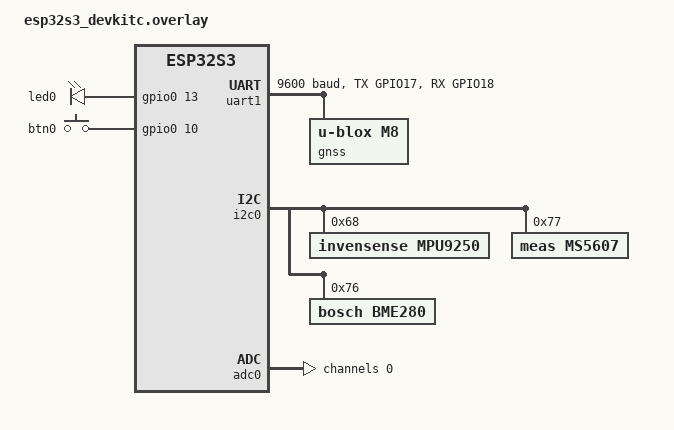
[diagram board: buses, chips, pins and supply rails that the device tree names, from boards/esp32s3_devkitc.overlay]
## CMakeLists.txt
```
cmake_minimum_required(VERSION 3.20.0)

# Generate compile_commands.json by default so editors (clangd, cpptools)
# can pick up the build include paths. Override with -DCMAKE_EXPORT_COMPILE_COMMANDS=OFF if you don't want it.
set(CMAKE_EXPORT_COMPILE_COMMANDS ON CACHE BOOL "Export compile_commands.json for editor tooling")

find_package(Zephyr REQUIRED HINTS $ENV{ZEPHYR_BASE})
project(esp32_basic)


# Include the library (via directory)
add_subdirectory(lib/simple_maths)
add_subdirectory(lib/bme280)

FILE(GLOB app_sources src/*.c)
FILE(GLOB app_headers include/*.h)
target_sources(app PRIVATE ${app_sources} ${app_headers})
# Link the simple_maths library to the application
zephyr_include_directories(config ${CMAKE_CURRENT_SOURCE_DIR}/config)

target_link_libraries(app PRIVATE maths_lib)
# target_link_libraries(app PRIVATE bme280_lib)
```

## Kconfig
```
# Include Zephyr top-level Kconfig so standard symbols are available
source "$srctree/Kconfig"

# Kconfig for simple_maths library (defined here so prj.conf can set it)
config MATHS_LIB
	bool "Enable simple maths library"
	default n
	help
	  Enable the simple_maths library and its API (add, subtract, multiply, divide).
```

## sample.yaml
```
sample:
  name: First Zephyr 
```

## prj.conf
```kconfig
CONFIG_MATHS_LIB=n


# CONFIG_FPU=y # enable FPU support using hardware
```

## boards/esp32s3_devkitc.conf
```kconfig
CONFIG_GPIO=y
CONFIG_ADC=y
CONFIG_LOG=y
# CONFIG_MATHS_LIB=y
# CONFIG_I2C=y
# CONFIG_I2C_TARGET=y

# GNSS
# CONFIG_GNSS=y
# CONFIG_GNSS_SATELLITES=y
# CONFIG_LOG_BUFFER_SIZE=8192
# CONFIG_GNSS_DUMP_TO_LOG=n
# CONFIG_GNSS_LOG_LEVEL_DBG=y

# Pressure 
CONFIG_I2C=y
CONFIG_SENSOR=y
CONFIG_MS5607=y
CONFIG_BME280=y
CONFIG_MPU9250=y
# CONFIG_BME280_STANDBY_05MS=y
# CONFIG_BME280_TEMP_OVER_8X=y

# CONFIG_SENSOR=y
# CONFIG_BME280_MODE_FORCED=y
# CONFIG_BME280_PRESS_OVER_2X=y
# CONFIG_BME280_HUMIDITY_OVER_2X=y


CONFIG_STDOUT_CONSOLE=y
CONFIG_PRINTK=y
CONFIG_LOG_PRINTK=y
CONFIG_CONSOLE=y
CONFIG_SERIAL=y
CONFIG_UART_CONSOLE=y
CONFIG_UART_1_ASYNC=y             # if using USART1

CONFIG_TEST_RANDOM_GENERATOR=y
CONFIG_TEST_CSPRNG_GENERATOR=y

CONFIG_PICOLIBC_IO_FLOAT=y # enable FPU support using software
CONFIG_ENTROPY_DEVICE_RANDOM_GENERATOR=y
CONFIG_UART_INTERRUPT_DRIVEN=y
```

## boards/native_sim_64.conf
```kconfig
# Core
# CONFIG_NATIVE_SIM=y
CONFIG_SENSOR=y
CONFIG_LOG=y
CONFIG_LOG_MODE_DEFERRED=y
CONFIG_PRINTK=y
CONFIG_LOG_BUFFER_SIZE=8192

# Disable hardware specific
CONFIG_EMUL=y
CONFIG_I2C=y
CONFIG_I2C_EMUL=y

# GPIO Simulation
CONFIG_GPIO=y
CONFIG_GPIO_EMUL=y

# ADC Simulation
CONFIG_ADC=y
CONFIG_ADC_EMUL=y

# Simulated sensors
CONFIG_SENSOR=y
CONFIG_MS5607=y
CONFIG_BME280=y
# CONFIG_MS5607_EMUL=y
# CONFIG_BME280_EMUL=y

# GNSS (sim-fed)
CONFIG_GNSS=y
CONFIG_GNSS_SATELLITES=y
```

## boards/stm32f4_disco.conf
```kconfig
CONFIG_MATHS_LIB=y

CONFIG_GPIO=y
CONFIG_ADC=y
CONFIG_LOG=y


CONFIG_STDOUT_CONSOLE=y
CONFIG_PRINTK=y
CONFIG_LOG_PRINTK=y
CONFIG_CONSOLE=y
CONFIG_SERIAL=y
CONFIG_UART_CONSOLE=y
CONFIG_UART_1_ASYNC=y             # if using USART1

CONFIG_TEST_RANDOM_GENERATOR=y
CONFIG_TEST_CSPRNG_GENERATOR=y

CONFIG_PICOLIBC_IO_FLOAT=y # enable FPU support using software
CONFIG_ENTROPY_DEVICE_RANDOM_GENERATOR=y
CONFIG_UART_INTERRUPT_DRIVEN=y
```

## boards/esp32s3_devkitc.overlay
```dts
/* esp32-basic devicetree overlay
 * Demonstrates how to enable and alias GPIO, ADC and PWM devices.
 * Adjust pin numbers to match your board variant.
 */

//#include <zephyr/dt-bindings/pwm/pwm.h>

/ {
    aliases {
        /* led0 should alias the LED node label, not the gpio controller */
        userled = &led0;
				userswitch = &btn0;
        useradc = &adc0;
        useradcch = &adc0_ch1;

				gnss = &gnss;
				mpu9250 = &mpu9250;
				bme280 = &bme280;
				ms5607 = &ms5607;
    };

    leds {
        compatible = "gpio-leds";
        led0: d13 {
            gpios = <&gpio0 13 GPIO_ACTIVE_HIGH>;
        };
    };

		buttons {
        compatible = "gpio-keys";
        debounce-interval-ms = <50>;
        polling-mode;

        btn0: d10 {
            gpios = <&gpio0 10 GPIO_ACTIVE_HIGH>;
        };
    };
};

&gpio0 {
    status = "okay";
};


&uart1 {
		status = "okay";
		current-speed = <9600>;
    pinctrl-0 = <&uart1_pins>;
    pinctrl-names = "default";

		gnss: u_blox_m8 {
			status = "okay";
			compatible = "u-blox,m8";
			initial-baudrate = <9600>;
		};
};


&i2c0 {
		status = "okay"; // DEFAULT: pin 8 (SDA), pin 9 (SCL) 
		pinctrl-0 = <&i2c0_pins>;
		pinctrl-names = "default";

		mpu9250: mpu9250@68 {
				compatible = "invensense,mpu9250";
				gyro-sr-div = <5>; // rate = sample_rate / (1 + gyro-sr-div)
				gyro-dlpf = <250>;
				gyro-fs = <500>;
				accel-fs = <2>;
				accel-dlpf = "218.1";
				reg = <0x68>;
		};

    ms5607: ms5607@77 {
        compatible = "meas,ms5607";
        reg = <0x77>;
    };

		bme280: bme280@76 {
				compatible = "bosch,bme280";
				reg = <0x76>;
		};
};

&adc0 {
    status = "okay";
    #address-cells = <1>;
    #size-cells = <0>;

    adc0_ch1: channel@1 {
        reg = <0>;
        zephyr,gain = "ADC_GAIN_1_4";
        zephyr,reference = "ADC_REF_INTERNAL";
        zephyr,vref-mv = <3894>;
        zephyr,acquisition-time = <ADC_ACQ_TIME_DEFAULT>;
        zephyr,resolution = <12>;
    };
};

&pinctrl {
	uart1_pins: uart1_pins {
		group1 {
			pinmux = <UART1_TX_GPIO17>;
			output-high;
		};
		group2 {
			pinmux = <UART1_RX_GPIO18>;
			bias-pull-up;
		};
	};

  i2c0_pins: i2c0_pins {
      group1 {
          pinmux = <
              I2C0_SDA_GPIO35
              I2C0_SCL_GPIO36
          >;
      };
  };
};
```

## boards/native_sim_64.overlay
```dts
/ {
    aliases {
        userled    = &led0;
        userswitch = &btn0;
        adc        = &adc_sim;
        bme280     = &bme280;
        ms5607     = &ms5607;
    };

    /* GPIO Simulator Controller */
    gpio_sim: gpio_sim {
        compatible = "zephyr,gpio-emul";
        status = "okay";
        gpio-controller;
        #gpio-cells = <2>;
        ngpios = <2>;
    };

    leds {
        compatible = "gpio-leds";
        led0: led_0 {
            gpios = <&gpio_sim 0 0>;
            label = "User LED";
        };
    };

    buttons {
        compatible = "gpio-keys";
        btn0: btn_0 {
            gpios = <&gpio_sim 1 0>;
            label = "User Button";
        };
    };

    adc_sim: adc {
        compatible = "zephyr,adc-emul";
        status = "okay";
        #address-cells = <1>;
        #size-cells = <0>;
        nchannels = <2>;
        #io-channel-cells = <1>;
        ref-internal-mv = <3894>;

        adc0_ch1: channel@1 {
            reg = <1>;
            zephyr,gain = "ADC_GAIN_1_4";
            zephyr,reference = "ADC_REF_INTERNAL";
            zephyr,acquisition-time = <0>;
            zephyr,resolution = <12>;
        };
    };

    sensors {
    };
};

&i2c0 {
	status = "okay";

	bme280: bme280@76 {
		compatible = "bosch,bme280";
		reg = <0x76>;
	};

	ms5607: ms5607@77 {
		compatible = "meas,ms5607";
		reg = <0x77>;
	};
};
```

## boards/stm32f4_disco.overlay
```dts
/* STM32F4-Discovery devicetree overlay
 * Adjust pin numbers if your board variant differs.
 */

/* esp32-basic devicetree overlay
 * Demonstrates how to enable and alias GPIO, ADC and PWM devices.
 * Adjust pin numbers to match your board variant.
 */

#include <zephyr/dt-bindings/pwm/pwm.h>
#include <zephyr/dt-bindings/i2c/i2c.h>

&gpiob {
    status = "okay";
};

&gpioc {
    status = "okay";
};

/* Enable SPI2 for the ST7789 display */
&spi2 {
    status = "okay";
    pinctrl-0 = <&spi2_sck_pb13 &spi2_mosi_pb15>;
    pinctrl-names = "default";
    cs-gpios = <&gpiob 12 GPIO_ACTIVE_LOW>;  /* PB12 for chip select */
};

/ {
    aliases {
        /* led0 should alias the LED node label, not the gpio controller */
        userled = &led0;
				userswitch = &user_button;
        useradc = &ads1115;
        useradcch = &adc1_ch0;
    };

	chosen {
		/* make the ST7789v the default display for Zephyr */
		zephyr,display = &st7789v_my240;
	};

  leds {
    compatible = "gpio-leds";
    led0: d13 {
        gpios = <&gpiod 13 GPIO_ACTIVE_HIGH>; /* PC13 is user LED on many STM32F4 variants */
    };
  };

  /* ST7789 240x240 display connected via SPI2 */
  mipi_dbi {
    compatible = "zephyr,mipi-dbi-spi";
    spi-dev = <&spi2>;
    dc-gpios = <&gpiob 0 GPIO_ACTIVE_HIGH>;     /* PB0 for DC (data/command) */
    reset-gpios = <&gpiob 1 GPIO_ACTIVE_LOW>;   /* PB1 for RESET (active low) */
    #address-cells = <1>;
    #size-cells = <0>;

    st7789v_my240: st7789v@0 {
      compatible = "sitronix,st7789v";
      status = "okay";
      reg = <0>;
      mipi-max-frequency = <20000000>;
      width = <240>;
      height = <240>;
      x-offset = <0>;
      y-offset = <0>;
      vcom = <0x19>;
      gctrl = <0x35>;
      mdac = <0x00>;
      lcm = <0x2c>;
      colmod = <0x05>;
      gamma = <0x01>;
      porch-param = [0c 0c 00 33 33];
      cmd2en-param = [5a 69 02 01];
      pwctrl1-param = [a4 a1];
      pvgam-param = [d0 04 0d 11 13 2b 3f 54 4c 18 0d 0b 1f 23];
      nvgam-param = [d0 04 0c 11 13 2c 3f 44 51 2f 1f 1f 20 23];
      ram-param = [00 f0];
      rgb-param = [40 02 14];
      mipi-mode = "MIPI_DBI_MODE_SPI_4WIRE";
    };
  };

};

		&i2c1 {
			status = "okay";
			pinctrl-0 = <&i2c1_scl_pb8 &i2c1_sda_pb9>;
			pinctrl-names = "default";
			clock-frequency = <I2C_BITRATE_FAST>;

			ads1115: ads1115@48 {
				compatible = "ti,ads1115";
				reg = <0x48>;
				#io-channel-cells = <1>;
				status = "okay";

				channel@0 {
					reg = <0>;
					zephyr,gain = "ADC_GAIN_1";
					zephyr,reference = "ADC_REF_INTERNAL";
					zephyr,acquisition-time = <ADC_ACQ_TIME_DEFAULT>;
					zephyr,resolution = <15>;
				};

				channel@1 {
					reg = <1>;
					zephyr,gain = "ADC_GAIN_1";
					zephyr,reference = "ADC_REF_INTERNAL";
					zephyr,acquisition-time = <ADC_ACQ_TIME_DEFAULT>;
					zephyr,resolution = <15>;
				};

				channel@2 {
					reg = <2>;
					zephyr,gain = "ADC_GAIN_1";
					zephyr,reference = "ADC_REF_INTERNAL";
					zephyr,acquisition-time = <ADC_ACQ_TIME_DEFAULT>;
					zephyr,resolution = <15>;
				};

				channel@3 {
					reg = <3>;
					zephyr,gain = "ADC_GAIN_1";
					zephyr,reference = "ADC_REF_INTERNAL";
					zephyr,acquisition-time = <ADC_ACQ_TIME_DEFAULT>;
					zephyr,resolution = <15>;
				};
			};
		}

&adc1 {
    status = "okay";
    #address-cells = <1>;
    #size-cells = <0>;

    adc1_ch0: channel@0 {
        reg = <0>;
        zephyr,gain = "ADC_GAIN_1_4";
        zephyr,reference = "ADC_REF_INTERNAL";
        zephyr,vref-mv = <3894>;
        zephyr,acquisition-time = <ADC_ACQ_TIME_DEFAULT>;
        zephyr,resolution = <12>;
    };
};
```

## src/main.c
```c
#include <zephyr/device.h>
#include <zephyr/drivers/sensor.h>
#include <zephyr/kernel.h>
#include <zephyr/logging/log.h>

#include "../include/main.h"

LOG_MODULE_REGISTER(esp32, LOG_LEVEL_INF);

// const struct device *bme280_dev = DEVICE_DT_GET(DT_ALIAS(bme280));
// const struct device *ms5607_dev = DEVICE_DT_GET(DT_ALIAS(ms5607));

int main(void) {
  // int rc;

	struct device *mpu9250_dev = DEVICE_DT_GET(DT_ALIAS(mpu9250));
	if (!device_is_ready(mpu9250_dev)) {
		LOG_ERR("MPU9250 Device not ready");
		return 0;
	}
  // if (!device_is_ready(bme280_dev)) {
  // 	LOG_ERR("Device %s is not ready\n", bme280_dev->name);
  // 	return 0;
  // }
  // if (!device_is_ready(ms5607_dev)) {
  // 	LOG_ERR("Device %s is not ready\n", ms5607_dev->name);
  // 	return 0;
  // }

  while (1) {
    // printk("Hello World from Zephyr!\n");
    // LOG_INF("Hello World from Zephyr!");
		// LOG_INF("Device (Ox75): %x", WHO_AM_I(0x75));
		// LOG_INF("Device (Ox68): %x", WHO_AM_I(0x68));
		// LOG_INF("Device (Ox69): %x", WHO_AM_I(0x69));

    /*
    EXAMPLES
    - blink();
    - button_click();
    - blink_n_click();
    - adc_read_val();
    - random_print();
    - get_gps_info();
    - read_bme280();
    - read_ms5611();
    */

		int rc = 0;
		struct sensor_value accel[3], gyro[3], mag[3];
		rc = sensor_sample_fetch(mpu9250_dev);
		if (rc < 0) {
			LOG_ERR("MPU9250 sample fetch failed: %d", rc);
		} else {
			sensor_channel_get(mpu9250_dev, SENSOR_CHAN_ACCEL_XYZ, accel);
			sensor_channel_get(mpu9250_dev, SENSOR_CHAN_GYRO_XYZ, gyro);
			sensor_channel_get(mpu9250_dev, SENSOR_CHAN_MAGN_XYZ, mag);
			LOG_INF("MPU9250 Accel: X=%d.%06d, Y=%d.%06d, Z=%d.%06d",
					accel[0].val1, accel[0].val2,
					accel[1].val1, accel[1].val2,
					accel[2].val1, accel[2].val2);
			LOG_INF("MPU9250 Gyro: X=%d.%06d, Y=%d.%06d, Z=%d.%06d",
					gyro[0].val1, gyro[0].val2,
					gyro[1].val1, gyro[1].val2,
					gyro[2].val1, gyro[2].val2);
			LOG_INF("MPU9250 Mag: X=%d.%06d, Y=%d.%06d, Z=%d.%06d",
					mag[0].val1, mag[0].val2,
					mag[1].val1, mag[1].val2,
					mag[2].val1, mag[2].val2);
		}
    k_sleep(K_MSEC(500));
  }

  return 0;
}
```

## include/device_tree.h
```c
#ifndef DEVICE_TREE_H
#define DEVICE_TREE_H
#include <zephyr/drivers/gpio.h>

/* 1000 msec = 1 sec */
#define SLEEP_TIME_MS 1000

/* The devicetree node identifier for the "led0" alias. */
#define LED0_NODE DT_ALIAS(led0)
#define LED1_NODE DT_ALIAS(led1)
#define LED2_NODE DT_ALIAS(led2)
#define LED3_NODE DT_ALIAS(led3)

/*
	* The devicetree node identifier for the "led1" alias.
	* Change "led1" to "led2", "led3", etc to get access
*/
#define LED0 GPIO_DT_SPEC_GET(LED0_NODE, gpios)
#define LED1 GPIO_DT_SPEC_GET(LED1_NODE, gpios)
#define LED2 GPIO_DT_SPEC_GET(LED2_NODE, gpios)
#define LED3 GPIO_DT_SPEC_GET(LED3_NODE, gpios)

// #define PWM_LED0 PWM_DT_SPEC_GET(LED0_NODE)
#define SW0_NODE	DT_ALIAS(sw0)
#if !DT_NODE_HAS_STATUS_OKAY(SW0_NODE)
#error "Unsupported board: sw0 devicetree alias is not defined"
#endif // SW0_NODE

#endif // DEVICE_TREE_H
```

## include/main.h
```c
#ifndef MAIN_H
#define MAIN_H
#include <zephyr/drivers/gpio.h>
#include <zephyr/logging/log.h>
#include <zephyr/drivers/gnss.h>

int random_print(void);
int blink();
int button_click(void);
int blink_n_click(void);
int adc_read_val(void);
int get_gps_info(void);

#endif // MAIN_H
```

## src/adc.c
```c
// #include <stdio.h>
// #include <zephyr/kernel.h>
// #include <zephyr/drivers/adc.h>


// #define ADC_CHANNEL DT_ALIAS(useradcch)
// #define ADC_DEVICE DT_ALIAS(useradc)




// // Get Devicetree configurations
// #if !DT_NODE_HAS_STATUS(ADC_CHANNEL, okay)
//   #error "Unsupported board: adc channel devicetree alias is not defined"
// #endif

// #if !DT_NODE_HAS_STATUS(ADC_DEVICE, okay)
// 	#error "Unsupported board: adc device devicetree alias is not defined"
// #endif

// static const struct device *adc_dev = DEVICE_DT_GET(ADC_DEVICE);
// static const struct adc_channel_cfg adc_channel = ADC_CHANNEL_CFG_DT(ADC_CHANNEL);



// int adc_read_val(void)
// {

// 		uint16_t adc_sample;
//     // Get Vref (mV) from Devicetree property
//     int32_t vref_mv = DT_PROP(ADC_CHANNEL, zephyr_vref_mv);
//     uint16_t mv = 0;


//     // Make sure that the ADC was initialized
//     if (!device_is_ready(adc_dev)) {
//         printk("ADC peripheral is not ready\r\n");
//         return 0;
//     }

//     // Configure ADC channel
//     int ret = adc_channel_setup(adc_dev, &adc_channel);
//     if (ret < 0) {
//         printk("Could not set up ADC\r\n");
//         return 0;
//     }

// 		const struct adc_sequence sequence = {
// 			.channels = BIT(adc_channel.channel_id),
// 			.buffer = &adc_sample,
// 			.buffer_size = sizeof(adc_sample),
// 			.resolution = DT_PROP(ADC_CHANNEL, zephyr_resolution),
// 		};

// 		// Do forever
// 		while (1) {
// 			// Read ADC value
// 			ret = adc_read(adc_dev, &sequence);
// 	    if (ret < 0) {
//           printk("Could not read ADC: %d\r\n", ret);
//           continue;
//       }

// 			// Print the raw ADC value and the voltage in mV
// 			mv = adc_sample * vref_mv / (1 << sequence.resolution);

// 			printk("ADC raw: %d, voltage: %d mV\r\n", adc_sample, mv);
// 			k_sleep(K_MSEC(1000));
// 		}
// 		return 0;
// }
```

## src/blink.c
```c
#include <zephyr/drivers/gpio.h>

#include <zephyr/logging/log.h>
#include "../include/main.h"


#ifdef CONFIG_MATHS_LIB
#include "maths.h"
// #else
// #warning "No maths library selected"
#endif


LOG_MODULE_REGISTER(esp32_basic, LOG_LEVEL_INF);

/* Use the standard alias 'userled' (defined in the board overlay). */
#define LED_NODE DT_ALIAS(userled)
#if DT_NODE_HAS_STATUS(LED_NODE, okay)
static const struct gpio_dt_spec led = GPIO_DT_SPEC_GET(LED_NODE, gpios);
#else
#warning "LED PIN alias not defined in devicetree"
static const struct gpio_dt_spec led = {
	.port=0,
	.pin=13,
	.dt_flags=GPIO_ACTIVE_HIGH
};
#endif

int blink()
{

  LOG_INF("esp32-basic starting");

	int ret;
	int state = 0;

	#ifdef CONFIG_MATHS_LIB
	int sum;
	add(5, 3, &sum);
	LOG_INF("5 + 3 = %d", sum);
	#endif

	// Make sure that the GPIO was initialized
	if (!gpio_is_ready_dt(&led)) {
		return 0;
	}

	// Set the GPIO as output
	ret = gpio_pin_configure_dt(&led, GPIO_OUTPUT);
	if (ret < 0) {
		return 0;
	}

	// Do forever
	while (1) {
		state = !state;

		// Change the state of the pin and print
		LOG_INF("LED state: %d\r\n", state);
		#ifdef CONFIG_MATHS_LIB
		int sum;
		add(5, 3, &sum);
		LOG_INF("5 + 3 = %d", sum);
		#endif
		
		// Set pin state
		ret = gpio_pin_set_dt(&led, state);
		if (ret < 0) {
			return 0;
		}

		// Sleep
		k_sleep(K_MSEC(1000));
	}

	return 0;
}
```

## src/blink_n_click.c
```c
#include <stdio.h>
#include <zephyr/kernel.h>
#include <zephyr/drivers/gpio.h>

// Settings
static const struct gpio_dt_spec btn = GPIO_DT_SPEC_GET(DT_ALIAS(userswitch), gpios);
static const struct gpio_dt_spec led = GPIO_DT_SPEC_GET(DT_ALIAS(userled), gpios);

int blink_n_click(void)
{
	// Make sure that the button was initialized
	if (!gpio_is_ready_dt(&btn)) {
		printk("ERROR: button not ready\r\n");
	}
	if (!gpio_is_ready_dt(&led)) {
		printk("ERROR: LED not ready\r\n");
	}
	// Set the button as input (apply extra flags if needed)
	int ret = gpio_pin_configure_dt(&btn, GPIO_INPUT);
	if (ret < 0) {
		printk("ERROR: failed to configure button pin\r\n");
	}
	// Set the GPIO as output
	ret = gpio_pin_configure_dt(&led, GPIO_OUTPUT);
	if (ret < 0) {
		printk("ERROR: failed to configure LED pin\r\n");
	}

	int state = 0;
	// Do forever
	while (1) {
		// Poll button state
		state = gpio_pin_get_dt(&btn);
		printk("Button state: %d\r\n", state);
		// Change the state of the pin and print
		if (state == 0) { // Assuming active low button
			printk("LED OFF\r\n");
			gpio_pin_set_dt(&led, 0);
		} else {
			printk("LED ON\r\n");
			gpio_pin_set_dt(&led, 1);
		}
		// Sleep
		k_sleep(K_MSEC(100));
	}

		return 0;
}
```

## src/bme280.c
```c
#ifdef BME280
#include <zephyr/drivers/sensor.h>

double intial_pressure = 0;
double initial_altitude = 0;

double altitude_m(double pressure_pa)
{
    return 44330.0 * (1.0 - pow(pressure_pa / 101325, 0.1903));
}

void read_bme280(struct bme280_dev *bme280_dev){
		int rc;
		struct sensor_value temp2 , pres;
		// Sleep for 500 milliseconds
		// k_sleep(K_MSEC(500));

		rc = sensor_sample_fetch(bme280_dev);
		if (rc == 0) {
			rc = sensor_channel_get(bme280_dev, SENSOR_CHAN_AMBIENT_TEMP, &temp2);
			if (rc == 0) {
				LOG_INF("BME280 Temperature: %d.%06d C", temp2.val1, temp2.val2);
			} else {
				LOG_ERR("Could not get BME280 temperature: %d", rc);
			}
		} else {
			LOG_ERR("BME280 Sensor sample fetch failed: %d", rc);
		}


		double current_pressure;
		double current_altitude;
		if (rc == 0) {
			rc = sensor_channel_get(bme280_dev, SENSOR_CHAN_PRESS, &pres);
			if (rc == 0) {
				if (*initial_pressure == 0) {
					*initial_pressure = pres.val1 + pres.val2 / 1000000.0;
					*initial_altitude = altitude_m(*initial_pressure * 1000); // convert kPa to Pa
					LOG_INF("Initial Pressure Reading Set: %.6f kPa", *initial_pressure);
				} else {
					current_pressure = pres.val1 + pres.val2 / 1000000.0;
					current_altitude = altitude_m(current_pressure * 1000); // convert kPa to Pa
					LOG_INF("Pressure Change: %.6f kPa", (*initial_pressure - current_pressure) * 1000 );
					LOG_INF("Altitude Change: %.6f meters", current_altitude - *initial_altitude);
					
					LOG_INF("BME280 Elevation: %.2f meters", current_altitude);
					LOG_INF("BME280 Pressure: %.6f kPa", current_pressure);
					LOG_INF("---------------------------------");
				}
			} else {
				LOG_ERR("Could not get BME280 pressure: %d", rc);
			}
		} else {
			LOG_ERR("BME280 Sensor sample fetch failed: %d", rc);
		}
	}
#endif // BME280
```

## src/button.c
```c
#include "../include/device_tree.h"
#include <zephyr/kernel.h>
#include <zephyr/sys/printk.h>
#include <zephyr/device.h>
#include <zephyr/drivers/pwm.h>

static const struct gpio_dt_spec button = GPIO_DT_SPEC_GET_OR(SW0_NODE, gpios,
							      {0});
static struct gpio_callback button_cb_data;
static struct gpio_dt_spec led_list[] = {LED0, LED1, LED2, LED3};

void button_pressed(const struct device *dev, struct gpio_callback *cb,
		    uint32_t pins)
{
	printk("Button pressed at %" PRIu32 "\n", k_cycle_get_32());
}

int button_init(void)
{
	int ret;

	if (!device_is_ready(button.port)) {
		printk("Error: button device %s is not ready\n",
		       button.port->name);
		return -1;
	}

		ret = gpio_pin_configure_dt(&button, GPIO_INPUT);
		if (ret != 0) {
			printk("Error %d: failed to configure %s pin %d\n",
			       ret, button.port->name, button.pin);
			return 0;
		}

		ret = gpio_pin_interrupt_configure_dt(&button,
						      GPIO_INT_EDGE_TO_ACTIVE);
		if (ret != 0) {
			printk("Error %d: failed to configure interrupt on %s pin %d\n",
				ret, button.port->name, button.pin);
			return 0;
		}

	gpio_init_callback(&button_cb_data, button_pressed, BIT(button.pin));
	gpio_add_callback(button.port, &button_cb_data);
	printk("Set up button at %s pin %d\n", button.port->name, button.pin);
	for (int i = 0; i < ARRAY_SIZE(led_list); i++) {
		struct gpio_dt_spec *led = &led_list[i];
		if (led->port && !gpio_is_ready_dt(led)) {
			printk("Error %d: LED device %s is not ready; ignoring it\n",
			       ret, led->port->name);
			led->port = NULL;
		}

		if (led->port) {
			ret = gpio_pin_configure_dt(led, GPIO_OUTPUT);
			if (ret != 0) {
				printk("Error %d: failed to configure LED device %s pin %d\n",
				       ret, led->port->name, led->pin);
				led->port = NULL;
			} else {
				printk("Set up LED at %s pin %d\n", led->port->name, led->pin);
			}
		}
	}
	for (int i = 0; i < ARRAY_SIZE(led_list); i++) {
		const struct gpio_dt_spec *led = &led_list[i];
		if (!led->port) {
			return -1;
		}
	}
	return 0;
}

int simple_button_toggle(void)
{
	int current_led = 0;
	int ret = button_init();
	if (ret < 0) {
		return 0;
	}

	while (1) {
	 int val = gpio_pin_get_dt(&button);
	 k_msleep(200);
	 if (val > 0) {
	   gpio_pin_toggle_dt(&led_list[current_led]);
	   current_led = (current_led + 1) % ARRAY_SIZE(led_list);
	 }
	}
	return 0;
}
```

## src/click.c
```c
#include <stdio.h>
#include <zephyr/kernel.h>
#include <zephyr/drivers/gpio.h>

// Settings
static const struct gpio_dt_spec btn = GPIO_DT_SPEC_GET(DT_ALIAS(userswitch), gpios);

int button_click(void)
{
    int ret;
    int state;

    // Make sure that the button was initialized
    if (!gpio_is_ready_dt(&btn)) {
        printk("ERROR: button not ready\r\n");
        return 0;
    }

    // Set the button as input (apply extra flags if needed)
    ret = gpio_pin_configure_dt(&btn, GPIO_INPUT);
    if (ret < 0) {
        return 0;
    }

    // Print out the flags
    printk("Button spec flags: 0x%x\r\n", btn.dt_flags);

    // Do forever
    while (1) {
        
        // Poll button state
        state = gpio_pin_get_dt(&btn);
        printk("Button state: %d\r\n", state);

        // Sleep
        k_sleep(K_MSEC(100));
    }

    return 0;
}
```

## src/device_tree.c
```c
#include <zephyr/drivers/gpio.h>

/* 1000 msec = 1 sec */
#define SLEEP_TIME_MS 1000

/* The devicetree node identifier for the "led0" alias. */
#define LED0_NODE DT_ALIAS(led0)
#define LED1_NODE DT_ALIAS(led1)
#define LED2_NODE DT_ALIAS(led2)
#define LED3_NODE DT_ALIAS(led3)

/*
	* The devicetree node identifier for the "led1" alias.
	* Change "led1" to "led2", "led3", etc to get access
*/
#define LED0 GPIO_DT_SPEC_GET(LED0_NODE, gpios)
#define LED1 GPIO_DT_SPEC_GET(LED1_NODE, gpios)
#define LED2 GPIO_DT_SPEC_GET(LED2_NODE, gpios)
#define LED3 GPIO_DT_SPEC_GET(LED3_NODE, gpios)

// #define PWM_LED0 PWM_DT_SPEC_GET(LED0_NODE)
#define SW0_NODE	DT_ALIAS(sw0)
#if !DT_NODE_HAS_STATUS_OKAY(SW0_NODE)
#error "Unsupported board: sw0 devicetree alias is not defined"
#endif
```

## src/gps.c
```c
#ifdef CONFIG_GNSS
#include <zephyr/drivers/gnss.h>
#include <zephyr/logging/log.h>
#include <zephyr/kernel.h>
#include "../include/main.h"
LOG_MODULE_REGISTER(gps, LOG_LEVEL_INF);

#define GNSS_MODEM DEVICE_DT_GET(DT_ALIAS(gnss))

int get_gps_info(void) {
	gnss_systems_t supported, enabled;
	uint32_t fix_interval;
	int rc;

	if (!device_is_ready(GNSS_MODEM)) {
	LOG_ERR("GNSS device not ready");
	return -ENODEV;
	}

	rc = gnss_get_fix_rate(GNSS_MODEM, &fix_interval);
	if (rc < 0) {
	LOG_ERR("Failed to query fix rate (%d)", rc);
	return rc;
	}

	rc = gnss_get_supported_systems(GNSS_MODEM, &supported);
	if (rc < 0) {
	LOG_ERR("failed to query supported systems (%d)", rc);
	return rc;
	}

	rc = gnss_get_enabled_systems(GNSS_MODEM, &enabled);
	if (rc < 0) {
	LOG_ERR("failed to query enabled systems (%d)", rc);
	return rc;
}

	LOG_INF("- GNSS Fix rate: %d ms", fix_interval);
	LOG_INF("- GNSS Supported systems: %s%s%s%s%s%s%s%s\r\n", 
		supported & GNSS_SYSTEM_GPS ? "GPS " : "",
		supported & GNSS_SYSTEM_GLONASS ? "GLONASS " : "",
		supported & GNSS_SYSTEM_GALILEO ? "GALILEO " : "",
		supported & GNSS_SYSTEM_BEIDOU ? "BEIDOU " : "",
		supported & GNSS_SYSTEM_QZSS ? "QZSS " : "",
		supported & GNSS_SYSTEM_IRNSS ? "IRNS " : "",
		supported & GNSS_SYSTEM_SBAS ? "SBAS " : "",
		supported & GNSS_SYSTEM_IMES ? "IMES " : ""
	);
	LOG_INF("- GNSS Enabled systems: %s%s%s%s%s%s%s%s\n", 
		enabled & GNSS_SYSTEM_GPS ? "GPS " : "",
		enabled & GNSS_SYSTEM_GLONASS ? "GLONASS " : "",
		enabled & GNSS_SYSTEM_GALILEO ? "GALILEO " : "",
		enabled & GNSS_SYSTEM_BEIDOU ? "BEIDOU " : "",
		enabled & GNSS_SYSTEM_QZSS ? "QZSS " : "",
		enabled & GNSS_SYSTEM_IRNSS ? "IRNS " : "",
		enabled & GNSS_SYSTEM_SBAS ? "SBAS " : "",
		enabled & GNSS_SYSTEM_IMES ? "IMES " : ""
	);
return 0;
}


static void gnss_data_cb(const struct device *dev, const struct gnss_data *data)
{
	uint64_t timepulse_ns;
	k_ticks_t timepulse;

	if (data->info.fix_status != GNSS_FIX_STATUS_NO_FIX) {
	if (gnss_get_latest_timepulse(dev, &timepulse) == 0) {
	timepulse_ns = k_ticks_to_ns_near64(timepulse);
	LOG_INF("Got a fix (type: %d) @ %lld ns", data->info.fix_status,
	       timepulse_ns);
	} else {
	LOG_INF("Got a fix (type: %d)", data->info.fix_status);
	}

	LOG_INF("date: %02d:%02d:%02d:%03d %02d-%02d-%04d",
	data->utc.hour, data->utc.minute, data->utc.millisecond/1000, data->utc.millisecond%1000,
	data->utc.month_day, data->utc.month, data->utc.century_year + 2000);

	LOG_INF("%s location (%lld, %lld) with %d tracked satellites",
	dev->name, (long long)data->nav_data.latitude, (long long)data->nav_data.longitude, data->info.satellites_cnt);
	} else {
	LOG_INF("No fix (Satellites: %u) Qual:%d Status:%d HDOP:%d Sep:%d",
	data->info.satellites_cnt, data->info.fix_quality, data->info.fix_status,
	data->info.hdop, data->info.geoid_separation);
	}
}

GNSS_DATA_CALLBACK_DEFINE(GNSS_MODEM, gnss_data_cb);
#endif // CONFIG_GNSS
```

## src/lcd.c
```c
/*
 * Copyright (c) 2018 Jan Van Winkel <jan.van_winkel@dxplore.eu>
 *
 * SPDX-License-Identifier: Apache-2.0
 */

#include <zephyr/device.h>
#include <zephyr/devicetree.h>
#include <zephyr/drivers/display.h>
#include <zephyr/drivers/gpio.h>
#include <lvgl.h>
#include <stdio.h>
#include <zephyr/kernel.h>
#include <lvgl_input_device.h>

#define LOG_LEVEL CONFIG_LOG_DEFAULT_LEVEL
#include <zephyr/logging/log.h>
LOG_MODULE_REGISTER(app);

static uint32_t count;

#ifdef CONFIG_RESET_COUNTER_SW0
static struct gpio_dt_spec button_gpio = GPIO_DT_SPEC_GET_OR(
		DT_ALIAS(sw0), gpios, {0});
static struct gpio_callback button_callback;

static void button_isr_callback(const struct device *port,
				struct gpio_callback *cb,
				uint32_t pins)
{
	ARG_UNUSED(port);
	ARG_UNUSED(cb);
	ARG_UNUSED(pins);

	count = 0;
}
#endif /* CONFIG_RESET_COUNTER_SW0 */

#ifdef CONFIG_LV_Z_ENCODER_INPUT
static const struct device *lvgl_encoder =
	DEVICE_DT_GET(DT_COMPAT_GET_ANY_STATUS_OKAY(zephyr_lvgl_encoder_input));
#endif /* CONFIG_LV_Z_ENCODER_INPUT */

#ifdef CONFIG_LV_Z_KEYPAD_INPUT
static const struct device *lvgl_keypad =
	DEVICE_DT_GET(DT_COMPAT_GET_ANY_STATUS_OKAY(zephyr_lvgl_keypad_input));
#endif /* CONFIG_LV_Z_KEYPAD_INPUT */

static void lv_btn_click_callback(lv_event_t *e)
{
	ARG_UNUSED(e);

	count = 0;
}

int simple_lcd(void)
{
	char count_str[11] = {0};
	const struct device *display_dev;
	lv_obj_t *hello_world_label;
	lv_obj_t *count_label;

#if DT_HAS_CHOSEN(zephyr_display)
	display_dev = DEVICE_DT_GET(DT_CHOSEN(zephyr_display));
	if (!device_is_ready(display_dev)) {
		LOG_ERR("Display device not ready, aborting test");
		return 0;
	}
#else
	LOG_ERR("No display chosen in devicetree (zephyr_display); aborting test");
	return 0;
#endif

#ifdef CONFIG_RESET_COUNTER_SW0
	if (gpio_is_ready_dt(&button_gpio)) {
		int err;

		err = gpio_pin_configure_dt(&button_gpio, GPIO_INPUT);
		if (err) {
			LOG_ERR("failed to configure button gpio: %d", err);
			return 0;
		}

		gpio_init_callback(&button_callback, button_isr_callback,
				   BIT(button_gpio.pin));

		err = gpio_add_callback(button_gpio.port, &button_callback);
		if (err) {
			LOG_ERR("failed to add button callback: %d", err);
			return 0;
		}

		err = gpio_pin_interrupt_configure_dt(&button_gpio,
						      GPIO_INT_EDGE_TO_ACTIVE);
		if (err) {
			LOG_ERR("failed to enable button callback: %d", err);
			return 0;
		}
	}
#endif /* CONFIG_RESET_COUNTER_SW0 */

#ifdef CONFIG_LV_Z_ENCODER_INPUT
	lv_obj_t *arc;
	lv_group_t *arc_group;

	arc = lv_arc_create(lv_screen_active());
	lv_obj_align(arc, LV_ALIGN_CENTER, 0, -15);
	lv_obj_set_size(arc, 150, 150);

	arc_group = lv_group_create();
	lv_group_add_obj(arc_group, arc);
	lv_indev_set_group(lvgl_input_get_indev(lvgl_encoder), arc_group);
#endif /* CONFIG_LV_Z_ENCODER_INPUT */

#ifdef CONFIG_LV_Z_KEYPAD_INPUT
	lv_obj_t *btn_matrix;
	lv_group_t *btn_matrix_group;
	static const char *const btnm_map[] = {"1", "2", "3", "4", ""};

	btn_matrix = lv_buttonmatrix_create(lv_screen_active());
	lv_obj_align(btn_matrix, LV_ALIGN_CENTER, 0, 70);
	lv_buttonmatrix_set_map(btn_matrix, (const char **)btnm_map);
	lv_obj_set_size(btn_matrix, 100, 50);

	btn_matrix_group = lv_group_create();
	lv_group_add_obj(btn_matrix_group, btn_matrix);
	lv_indev_set_group(lvgl_input_get_indev(lvgl_keypad), btn_matrix_group);
#endif /* CONFIG_LV_Z_KEYPAD_INPUT */

	if (IS_ENABLED(CONFIG_LV_Z_POINTER_INPUT)) {
		lv_obj_t *hello_world_button;

		hello_world_button = lv_button_create(lv_screen_active());
		lv_obj_align(hello_world_button, LV_ALIGN_CENTER, 0, -15);
		lv_obj_add_event_cb(hello_world_button, lv_btn_click_callback, LV_EVENT_CLICKED,
				    NULL);
		hello_world_label = lv_label_create(hello_world_button);
	} else {
		hello_world_label = lv_label_create(lv_screen_active());
	}

	lv_label_set_text(hello_world_label, "Hello world!");
	lv_obj_align(hello_world_label, LV_ALIGN_CENTER, 0, 0);

	count_label = lv_label_create(lv_screen_active());
	lv_obj_align(count_label, LV_ALIGN_BOTTOM_MID, 0, 0);

	lv_timer_handler();
	display_blanking_off(display_dev);

	while (1) {
		if ((count % 100) == 0U) {
			sprintf(count_str, "%d", count/100U);
			lv_label_set_text(count_label, count_str);
		}
		lv_timer_handler();
		++count;
		k_sleep(K_MSEC(10));
	}
}
```

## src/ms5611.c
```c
#ifdef MS5607
#include <zephyr/drivers/sensor.h>

void read_ms5611(struct ms5611_dev *ms5611_dev){
		int rc;
		struct sensor_value temp2 , pres;
		

		struct sensor_value temp, press;

		rc = sensor_sample_fetch(ms5607_dev);
		if (rc == 0) {
			rc = sensor_channel_get(ms5607_dev, SENSOR_CHAN_AMBIENT_TEMP, &temp);
			if (rc == 0) {
				LOG_INF("Temperature: %d.%06d C", temp.val1, temp.val2);
			} else {
				LOG_ERR("Could not get temperature: %d", rc);
			}

			rc = sensor_channel_get(ms5607_dev, SENSOR_CHAN_PRESS, &press);
			if (rc == 0) {
				LOG_INF("Pressure: %d.%06d kPa", press.val1, press.val2);
			} else {
				LOG_ERR("Could not get pressure: %d", rc);
			}
			
		} else {
			LOG_ERR("Sensor sample fetch failed: %d", rc);
		}
	}
#endif // MS5607
```
